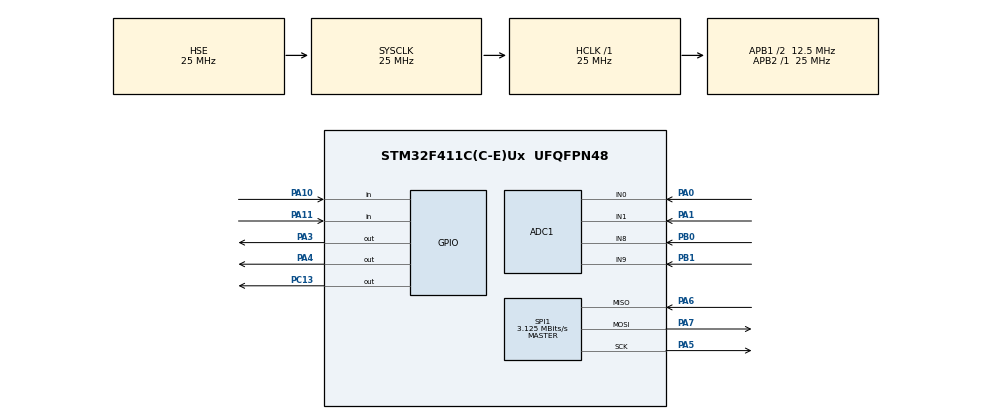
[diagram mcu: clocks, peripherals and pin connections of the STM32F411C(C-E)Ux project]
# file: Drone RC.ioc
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ADC1.Channel-0\#ChannelRegularConversion=ADC_CHANNEL_0
ADC1.Channel-1\#ChannelRegularConversion=ADC_CHANNEL_1
ADC1.Channel-2\#ChannelRegularConversion=ADC_CHANNEL_8
ADC1.Channel-3\#ChannelRegularConversion=ADC_CHANNEL_9
ADC1.ContinuousConvMode=ENABLE
ADC1.DMAContinuousRequests=ENABLE
ADC1.NbrOfConversion=4
ADC1.NbrOfConversionFlag=1
ADC1.Rank-0\#ChannelRegularConversion=1
ADC1.Rank-1\#ChannelRegularConversion=2
ADC1.Rank-2\#ChannelRegularConversion=3
ADC1.Rank-3\#ChannelRegularConversion=4
ADC1.SamplingTime-0\#ChannelRegularConversion=ADC_SAMPLETIME_84CYCLES
ADC1.SamplingTime-1\#ChannelRegularConversion=ADC_SAMPLETIME_84CYCLES
ADC1.SamplingTime-2\#ChannelRegularConversion=ADC_SAMPLETIME_84CYCLES
ADC1.SamplingTime-3\#ChannelRegularConversion=ADC_SAMPLETIME_84CYCLES
ADC1.ScanConvMode=ENABLE
ADC1.master=1
Dma.ADC1.0.Direction=DMA_PERIPH_TO_MEMORY
Dma.ADC1.0.FIFOMode=DMA_FIFOMODE_DISABLE
Dma.ADC1.0.Instance=DMA2_Stream0
Dma.ADC1.0.MemDataAlignment=DMA_MDATAALIGN_HALFWORD
Dma.ADC1.0.MemInc=DMA_MINC_ENABLE
Dma.ADC1.0.Mode=DMA_CIRCULAR
Dma.ADC1.0.PeriphDataAlignment=DMA_PDATAALIGN_HALFWORD
Dma.ADC1.0.PeriphInc=DMA_PINC_DISABLE
Dma.ADC1.0.Priority=DMA_PRIORITY_LOW
Dma.Request0=ADC1
IWDG.Prescaler=IWDG_PRESCALER_8
IWDG.Reload=1999
Mcu.Family=STM32F4
Mcu.Name=STM32F411C(C-E)Ux
Mcu.Package=UFQFPN48
NVIC.DMA2_Stream0_IRQn=true\:0\:0\:false\:false\:true\:false\:true\:true
NVIC.PriorityGroup=NVIC_PRIORITYGROUP_4
PA0-WKUP.Signal=ADCx_IN0
PA1.Signal=ADCx_IN1
PA10.GPIO_PuPd=GPIO_PULLUP
PA10.Signal=GPIO_Input
PA11.GPIO_PuPd=GPIO_PULLUP
PA11.Signal=GPIO_Input
PA13.Mode=Serial_Wire
PA13.Signal=SYS_JTMS-SWDIO
PA14.Mode=Serial_Wire
PA14.Signal=SYS_JTCK-SWCLK
PA3.Signal=GPIO_Output
PA4.PinState=GPIO_PIN_RESET
PA4.Signal=GPIO_Output
PA5.Mode=Full_Duplex_Master
PA5.Signal=SPI1_SCK
PA6.Mode=Full_Duplex_Master
PA6.Signal=SPI1_MISO
PA7.Mode=Full_Duplex_Master
PA7.Signal=SPI1_MOSI
PB0.Signal=ADCx_IN8
PB1.Signal=ADCx_IN9
PC13-ANTI_TAMP.Signal=GPIO_Output
PH0\ -\ OSC_IN.Mode=HSE-External-Oscillator
PH0\ -\ OSC_IN.Signal=RCC_OSC_IN
PH1\ -\ OSC_OUT.Mode=HSE-External-Oscillator
PH1\ -\ OSC_OUT.Signal=RCC_OSC_OUT
ProjectManager.HeapSize=0x200
ProjectManager.StackSize=0x400
ProjectManager.TargetToolchain=MDK-ARM V5.32
RCC.48MHZClocksFreq_Value=37500000
RCC.AHBFreq_Value=25000000
RCC.APB1CLKDivider=RCC_HCLK_DIV2
RCC.APB1Freq_Value=12500000
RCC.APB1TimFreq_Value=25000000
RCC.APB2Freq_Value=25000000
RCC.APB2TimFreq_Value=25000000
RCC.CortexFreq_Value=25000000
RCC.HCLKFreq_Value=25000000
RCC.HSE_VALUE=25000000
RCC.HSI_VALUE=16000000
RCC.LSE_VALUE=32768
RCC.PLLM=12
RCC.PLLN=72
RCC.PLLP=RCC_PLLP_DIV6
RCC.PLLSourceVirtual=RCC_PLLSOURCE_HSE
RCC.SYSCLKFreq_VALUE=25000000
RCC.SYSCLKSource=RCC_SYSCLKSOURCE_HSE
RCC.VCOOutputFreq_Value=150000000
SH.ADCx_IN0.0=ADC1_IN0,IN0
SH.ADCx_IN1.0=ADC1_IN1,IN1
SH.ADCx_IN8.0=ADC1_IN8,IN8
SH.ADCx_IN9.0=ADC1_IN9,IN9
SPI1.BaudRatePrescaler=SPI_BAUDRATEPRESCALER_8
SPI1.CRCCalculation=SPI_CRCCALCULATION_DISABLE
SPI1.CalculateBaudRate=3.125 MBits/s
SPI1.Direction=SPI_DIRECTION_2LINES
SPI1.Mode=SPI_MODE_MASTER
SPI1.VirtualType=VM_MASTER
VP_IWDG_VS_IWDG.Mode=IWDG_Activate
board=custom

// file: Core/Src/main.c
/* USER CODE BEGIN Header */
/**
  ******************************************************************************
  * @file           : main.c
  * @brief          : Main program body
  ******************************************************************************
  * @attention
  *
  * Copyright (c) 2026 STMicroelectronics.
  * All rights reserved.
  *
  * This software is licensed under terms that can be found in the LICENSE file
  * in the root directory of this software component.
  * If no LICENSE file comes with this software, it is provided AS-IS.
  *
  ******************************************************************************
  */
/* USER CODE END Header */
#include "main.h"

/* USER CODE BEGIN Includes */
#include "NRF.h"
/* USER CODE END Includes */

/* USER CODE BEGIN PM */
#define pitch_min 460
#define pitch_max 3734
#define pitch_mid 2090
#define roll_min 443
#define roll_max 3733
#define roll_mid 2110
#define throttle_min 484
#define throttle_max 3579
#define throttle_mid 2070
#define yaw_min 400
#define yaw_max 3630
#define yaw_mid 2030
#define gimbal_deadband 40
#define pitch_mid_reversed (pitch_min + pitch_max - pitch_mid)
#define yaw_mid_reversed   (yaw_min + yaw_max - yaw_mid)
#define SBUS_MIN 192
#define SBUS_MID 992
#define SBUS_MAX 1794

/* USER CODE END PM */

ADC_HandleTypeDef hadc1;
DMA_HandleTypeDef hdma_adc1;

IWDG_HandleTypeDef hiwdg;

SPI_HandleTypeDef hspi1;

/* USER CODE BEGIN PV */
/* Radio configuration */
uint8_t TxAddress[5] = {0xEE, 0xDD, 0xCC, 0xBB, 0xAA};

/* Gimbal readings and processed controls.
 * Channel order: pitch, roll, throttle, yaw. */
volatile uint16_t arr[4] = {0};  // Raw ADC readings updated by DMA.
uint16_t control_val[4] = {0};   // Calibrated readings.
uint16_t sbus_controls[4] = {0}; // Controls converted to SBUS values.

/* ADC monitoring: shared between callbacks and the main loop. */
volatile uint32_t last_adc_time = 0;
volatile uint8_t adc_ready = 0;
volatile uint8_t adc_fault = 0;

/* Arm switch state */
uint8_t arm = 0;

/* Radio packet */
uint8_t data[11] = {0};
uint16_t sequence = 0;

/* USER CODE END PV */

void SystemClock_Config(void);
static void MX_GPIO_Init(void);
static void MX_DMA_Init(void);
static void MX_SPI1_Init(void);
static void MX_ADC1_Init(void);
static void MX_IWDG_Init(void);
/* USER CODE BEGIN PFP */
/* Check raw gimbal readings against plausible ADC limits. */
uint8_t gimbals_valid(const uint16_t raw[]);

/* Clamp readings, apply deadbands, and reverse pitch and yaw. */
void gimbal_calibration(const volatile uint16_t arr[], uint16_t controls[]);

/* Map a centred axis to the SBUS range using its calibrated endpoints and centre. */
static uint16_t map_centred_axis(int32_t value, int32_t minimum, int32_t centre, int32_t maximum);

/* Convert calibrated pitch, roll, throttle and yaw values to SBUS values. */
void controls_to_sbus(const uint16_t controls[], uint16_t sbus[]);

/* Read and debounce the arm switch: 0 = OFF, 1 = ON, 2 = invalid or unstable. */
uint8_t read_arm_switch(void);

/* Pack four controls, arm state and sequence number into an 11-byte radio packet. */
void pack_data(uint8_t data[], uint16_t sbus_controls[], uint8_t arm, uint16_t sequence);
/* USER CODE END PFP */

int main(void)
{

    /* Initialize the HAL and system clock. */
    HAL_Init();

    SystemClock_Config();

    /* Initialize peripherals. */
    MX_GPIO_Init();
    MX_DMA_Init();
    MX_SPI1_Init();
    MX_ADC1_Init();
    MX_IWDG_Init();

    /* USER CODE BEGIN 2 */

    /* Deselect the radio before sending configuration commands. */
    HAL_GPIO_WritePin(GPIOA, GPIO_PIN_4, GPIO_PIN_SET);

    /* Configure the radio as a transmitter on channel 76. */
    NRF24_Init();
    NRF24_TxMode(TxAddress, 76);
    HAL_Delay(100);

    /* Start continuous ADC sampling into the four-channel DMA buffer. */
    last_adc_time = HAL_GetTick();

    if (HAL_ADC_Start_DMA(&hadc1, (uint32_t *)arr, 4) != HAL_OK)
    {
        adc_fault = 1;
    }

    /* USER CODE END 2 */

    while (1)
    {

        /* USER CODE BEGIN 3 */

        /* Read the callback timestamp first so it cannot be newer than now. */
        uint32_t adc_time = last_adc_time;
        uint32_t now = HAL_GetTick();

        /* Stop transmitting if ADC updates have been absent for 100 ms.
         * ADC faults remain latched until the transmitter restarts.
         */
        if ((uint32_t)(now - adc_time) >= 100U)
        {
            adc_fault = 1;
        }

        arm = read_arm_switch();

        /* Require ADC data, no ADC fault, and a stable, valid arm switch. */
        if (adc_ready && !adc_fault && arm != 2)
        {
            uint16_t raw[4];

            /* Copy readings so validation and calibration use the same values. */
            for (uint8_t i = 0; i < 4; i++)
            {
                raw[i] = arr[i];
            }

            /* Validate before clamping, which could hide an abnormal reading. */
            if (!gimbals_valid(raw))
            {
                adc_fault = 1;
            }
            else
            {
                /* Calibrate the gimbals and convert to SBUS control values. */
                gimbal_calibration(raw, control_val);
                controls_to_sbus(control_val, sbus_controls);

                /* Assign a new sequence number to each transmission attempt. */
                pack_data(data, sbus_controls, arm, sequence);
                sequence++;

                /* Toggle the indicator when transmission succeeds. */
                if (NRF24_Transmit(data) == 1)
                {
                    HAL_GPIO_TogglePin(GPIOC, GPIO_PIN_13);
                }
            }
        }

        /* Refresh after completing the loop, even if transmission is disabled. */
        HAL_IWDG_Refresh(&hiwdg);

        /* Pause before processing the next set of controls. */
        HAL_Delay(10);
    }
    /* USER CODE END 3 */
}

void SystemClock_Config(void)
{
  RCC_OscInitTypeDef RCC_OscInitStruct = {0};
  RCC_ClkInitTypeDef RCC_ClkInitStruct = {0};

  /** Configure the main internal regulator output voltage
  */
  __HAL_RCC_PWR_CLK_ENABLE();
  __HAL_PWR_VOLTAGESCALING_CONFIG(PWR_REGULATOR_VOLTAGE_SCALE1);

  /** Initializes the RCC Oscillators according to the specified parameters
  * in the RCC_OscInitTypeDef structure.
  */
  RCC_OscInitStruct.OscillatorType = RCC_OSCILLATORTYPE_LSI|RCC_OSCILLATORTYPE_HSE;
  RCC_OscInitStruct.HSEState = RCC_HSE_ON;
  RCC_OscInitStruct.LSIState = RCC_LSI_ON;
  RCC_OscInitStruct.PLL.PLLState = RCC_PLL_NONE;
  if (HAL_RCC_OscConfig(&RCC_OscInitStruct) != HAL_OK)
  {
    Error_Handler();
  }

  /** Initializes the CPU, AHB and APB buses clocks
  */
  RCC_ClkInitStruct.ClockType = RCC_CLOCKTYPE_HCLK|RCC_CLOCKTYPE_SYSCLK
                              |RCC_CLOCKTYPE_PCLK1|RCC_CLOCKTYPE_PCLK2;
  RCC_ClkInitStruct.SYSCLKSource = RCC_SYSCLKSOURCE_HSE;
  RCC_ClkInitStruct.AHBCLKDivider = RCC_SYSCLK_DIV1;
  RCC_ClkInitStruct.APB1CLKDivider = RCC_HCLK_DIV2;
  RCC_ClkInitStruct.APB2CLKDivider = RCC_HCLK_DIV1;

  if (HAL_RCC_ClockConfig(&RCC_ClkInitStruct, FLASH_LATENCY_0) != HAL_OK)
  {
    Error_Handler();
  }
}

static void MX_ADC1_Init(void)
{

  ADC_ChannelConfTypeDef sConfig = {0};

  /** Configure the global features of the ADC (Clock, Resolution, Data Alignment and number of conversion)
  */
  hadc1.Instance = ADC1;
  hadc1.Init.ClockPrescaler = ADC_CLOCK_SYNC_PCLK_DIV2;
  hadc1.Init.Resolution = ADC_RESOLUTION_12B;
  hadc1.Init.ScanConvMode = ENABLE;
  hadc1.Init.ContinuousConvMode = ENABLE;
  hadc1.Init.DiscontinuousConvMode = DISABLE;
  hadc1.Init.ExternalTrigConvEdge = ADC_EXTERNALTRIGCONVEDGE_NONE;
  hadc1.Init.ExternalTrigConv = ADC_SOFTWARE_START;
  hadc1.Init.DataAlign = ADC_DATAALIGN_RIGHT;
  hadc1.Init.NbrOfConversion = 4;
  hadc1.Init.DMAContinuousRequests = ENABLE;
  hadc1.Init.EOCSelection = ADC_EOC_SINGLE_CONV;
  if (HAL_ADC_Init(&hadc1) != HAL_OK)
  {
    Error_Handler();
  }

  /** Configure for the selected ADC regular channel its corresponding rank in the sequencer and its sample time.
  */
  sConfig.Channel = ADC_CHANNEL_0;
  sConfig.Rank = 1;
  sConfig.SamplingTime = ADC_SAMPLETIME_84CYCLES;
  if (HAL_ADC_ConfigChannel(&hadc1, &sConfig) != HAL_OK)
  {
    Error_Handler();
  }

  /** Configure for the selected ADC regular channel its corresponding rank in the sequencer and its sample time.
  */
  sConfig.Channel = ADC_CHANNEL_1;
  sConfig.Rank = 2;
  if (HAL_ADC_ConfigChannel(&hadc1, &sConfig) != HAL_OK)
  {
    Error_Handler();
  }

  /** Configure for the selected ADC regular channel its corresponding rank in the sequencer and its sample time.
  */
  sConfig.Channel = ADC_CHANNEL_8;
  sConfig.Rank = 3;
  if (HAL_ADC_ConfigChannel(&hadc1, &sConfig) != HAL_OK)
  {
    Error_Handler();
  }

  /** Configure for the selected ADC regular channel its corresponding rank in the sequencer and its sample time.
  */
  sConfig.Channel = ADC_CHANNEL_9;
  sConfig.Rank = 4;
  if (HAL_ADC_ConfigChannel(&hadc1, &sConfig) != HAL_OK)
  {
    Error_Handler();
  }

}

static void MX_IWDG_Init(void)
{

  hiwdg.Instance = IWDG;
  hiwdg.Init.Prescaler = IWDG_PRESCALER_8;
  hiwdg.Init.Reload = 1999;
  if (HAL_IWDG_Init(&hiwdg) != HAL_OK)
  {
    Error_Handler();
  }

}

static void MX_SPI1_Init(void)
{

  /* SPI1 parameter configuration*/
  hspi1.Instance = SPI1;
  hspi1.Init.Mode = SPI_MODE_MASTER;
  hspi1.Init.Direction = SPI_DIRECTION_2LINES;
  hspi1.Init.DataSize = SPI_DATASIZE_8BIT;
  hspi1.Init.CLKPolarity = SPI_POLARITY_LOW;
  hspi1.Init.CLKPhase = SPI_PHASE_1EDGE;
  hspi1.Init.NSS = SPI_NSS_SOFT;
  hspi1.Init.BaudRatePrescaler = SPI_BAUDRATEPRESCALER_8;
  hspi1.Init.FirstBit = SPI_FIRSTBIT_MSB;
  hspi1.Init.TIMode = SPI_TIMODE_DISABLE;
  hspi1.Init.CRCCalculation = SPI_CRCCALCULATION_DISABLE;
  hspi1.Init.CRCPolynomial = 10;
  if (HAL_SPI_Init(&hspi1) != HAL_OK)
  {
    Error_Handler();
  }

}

static void MX_DMA_Init(void)
{

  /* DMA controller clock enable */
  __HAL_RCC_DMA2_CLK_ENABLE();

  /* DMA interrupt init */
  /* DMA2_Stream0_IRQn interrupt configuration */
  HAL_NVIC_SetPriority(DMA2_Stream0_IRQn, 0, 0);
  HAL_NVIC_EnableIRQ(DMA2_Stream0_IRQn);

}

static void MX_GPIO_Init(void)
{
  GPIO_InitTypeDef GPIO_InitStruct = {0};

  /* GPIO Ports Clock Enable */
  __HAL_RCC_GPIOC_CLK_ENABLE();
  __HAL_RCC_GPIOH_CLK_ENABLE();
  __HAL_RCC_GPIOA_CLK_ENABLE();
  __HAL_RCC_GPIOB_CLK_ENABLE();

  /*Configure GPIO pin Output Level */
  HAL_GPIO_WritePin(GPIOC, GPIO_PIN_13, GPIO_PIN_RESET);

  /*Configure GPIO pin Output Level */
  HAL_GPIO_WritePin(GPIOA, GPIO_PIN_3|GPIO_PIN_4, GPIO_PIN_RESET);

  /*Configure GPIO pin : PC13 */
  GPIO_InitStruct.Pin = GPIO_PIN_13;
  GPIO_InitStruct.Mode = GPIO_MODE_OUTPUT_PP;
  GPIO_InitStruct.Pull = GPIO_NOPULL;
  GPIO_InitStruct.Speed = GPIO_SPEED_FREQ_LOW;
  HAL_GPIO_Init(GPIOC, &GPIO_InitStruct);

  /*Configure GPIO pins : PA3 PA4 */
  GPIO_InitStruct.Pin = GPIO_PIN_3|GPIO_PIN_4;
  GPIO_InitStruct.Mode = GPIO_MODE_OUTPUT_PP;
  GPIO_InitStruct.Pull = GPIO_NOPULL;
  GPIO_InitStruct.Speed = GPIO_SPEED_FREQ_LOW;
  HAL_GPIO_Init(GPIOA, &GPIO_InitStruct);

  /*Configure GPIO pins : PA10 PA11 */
  GPIO_InitStruct.Pin = GPIO_PIN_10|GPIO_PIN_11;
  GPIO_InitStruct.Mode = GPIO_MODE_INPUT;
  GPIO_InitStruct.Pull = GPIO_PULLUP;
  HAL_GPIO_Init(GPIOA, &GPIO_InitStruct);

}

/* USER CODE BEGIN 4 */
void gimbal_calibration(const volatile uint16_t arr[], uint16_t controls[])
{
    for (int i = 0; i < 4; i++)
        controls[i] = arr[i];

    // Clamp values.
    if (controls[0] < pitch_min) controls[0] = pitch_min;
    else if (controls[0] > pitch_max) controls[0] = pitch_max;

    if (controls[1] < roll_min) controls[1] = roll_min;
    else if (controls[1] > roll_max) controls[1] = roll_max;

    if (controls[2] < throttle_min) controls[2] = throttle_min;
    else if (controls[2] > throttle_max) controls[2] = throttle_max;

    if (controls[3] < yaw_min) controls[3] = yaw_min;
    else if (controls[3] > yaw_max) controls[3] = yaw_max;

    // Centre deadbands.
    if (controls[0] >= pitch_mid - gimbal_deadband &&
        controls[0] <= pitch_mid + gimbal_deadband)
        controls[0] = pitch_mid;

    if (controls[1] >= roll_mid - gimbal_deadband &&
        controls[1] <= roll_mid + gimbal_deadband)
        controls[1] = roll_mid;

    if (controls[3] >= yaw_mid - gimbal_deadband &&
        controls[3] <= yaw_mid + gimbal_deadband)
        controls[3] = yaw_mid;

    // Throttle deadband near minimum.
    if (controls[2] <= throttle_min + gimbal_deadband)
        controls[2] = throttle_min;

    // Reverse yaw and pitch.
    controls[0] = pitch_max - (controls[0] - pitch_min);
    controls[3] = yaw_max - (controls[3] - yaw_min);
}

uint8_t read_arm_switch(void)
{
    static uint8_t previous = 2;
    static uint32_t changed_at = 0;

    GPIO_PinState pa10 = HAL_GPIO_ReadPin(GPIOA, GPIO_PIN_10);
    GPIO_PinState pa11 = HAL_GPIO_ReadPin(GPIOA, GPIO_PIN_11);

    uint8_t position = 2;
    uint32_t now = HAL_GetTick();

    if (pa10 == GPIO_PIN_SET && pa11 == GPIO_PIN_RESET)
        position = 0;  // OFF
    else if (pa10 == GPIO_PIN_RESET && pa11 == GPIO_PIN_SET)
        position = 1;  // ON

    if (position != previous)
    {
        previous = position;
        changed_at = now;
    }

    if (position == 2 || (uint32_t)(now - changed_at) < 20U)
    {
        return 2;  // Invalid or not yet stable.
    }

    return position;
}

static uint16_t map_centred_axis(int32_t value, int32_t minimum, int32_t centre, int32_t maximum)
{
    if (value <= centre)
    {
        return SBUS_MIN
             + (value - minimum) * (SBUS_MID - SBUS_MIN)
             / (centre - minimum);
    }

    return SBUS_MID
         + (value - centre) * (SBUS_MAX - SBUS_MID)
         / (maximum - centre);
}

void controls_to_sbus(const uint16_t controls[], uint16_t sbus[])
{
    // Pitch: centre after reversal.
    sbus[0] = map_centred_axis(
        controls[0],
        pitch_min,
        pitch_min + pitch_max - pitch_mid,
        pitch_max
    );

    // Roll.
    sbus[1] = map_centred_axis(
        controls[1], roll_min, roll_mid, roll_max
    );

    // Throttle: map the full range without a centre.
    sbus[2] = SBUS_MIN
            + ((int32_t)controls[2] - throttle_min)
            * (SBUS_MAX - SBUS_MIN)
            / (throttle_max - throttle_min);

    // Yaw: centre after reversal.
    sbus[3] = map_centred_axis(
        controls[3],
        yaw_min,
        yaw_min + yaw_max - yaw_mid,
        yaw_max
    );
}

void pack_data(uint8_t data[], uint16_t sbus_controls[], uint8_t arm, uint16_t sequence){
	data[0] = sbus_controls[0] & 0xFF;
	data[1] = sbus_controls[0] >> 8;
	data[2] = sbus_controls[1] & 0xFF;
	data[3] = sbus_controls[1] >> 8;
	data[4] = sbus_controls[2] & 0xFF;
	data[5] = sbus_controls[2] >> 8;
	data[6] = sbus_controls[3] & 0xFF;
	data[7] = sbus_controls[3] >> 8;
	data[8] = arm;
	data[9] = sequence & 0xFF;
	data[10] = sequence >> 8;

}

void HAL_ADC_ConvCpltCallback(ADC_HandleTypeDef *hadc)
{
    if (hadc->Instance == ADC1)
    {
        last_adc_time = HAL_GetTick();
        adc_ready = 1;
    }
}

void HAL_ADC_ErrorCallback(ADC_HandleTypeDef *hadc)
{
    if (hadc->Instance == ADC1)
    {
        adc_fault = 1;
    }
}

uint8_t gimbals_valid(const uint16_t raw[])
{
    // Initial tolerance beyond the measured stick travel.
    const int32_t margin = 150;

    return
        raw[0] >= pitch_min - margin &&
        raw[0] <= pitch_max + margin &&

        raw[1] >= roll_min - margin &&
        raw[1] <= roll_max + margin &&

        raw[2] >= throttle_min - margin &&
        raw[2] <= throttle_max + margin &&

        raw[3] >= yaw_min - margin &&
        raw[3] <= yaw_max + margin;
}
/* USER CODE END 4 */

void Error_Handler(void)
{
  __disable_irq();
  while (1)
  {
  }
}
